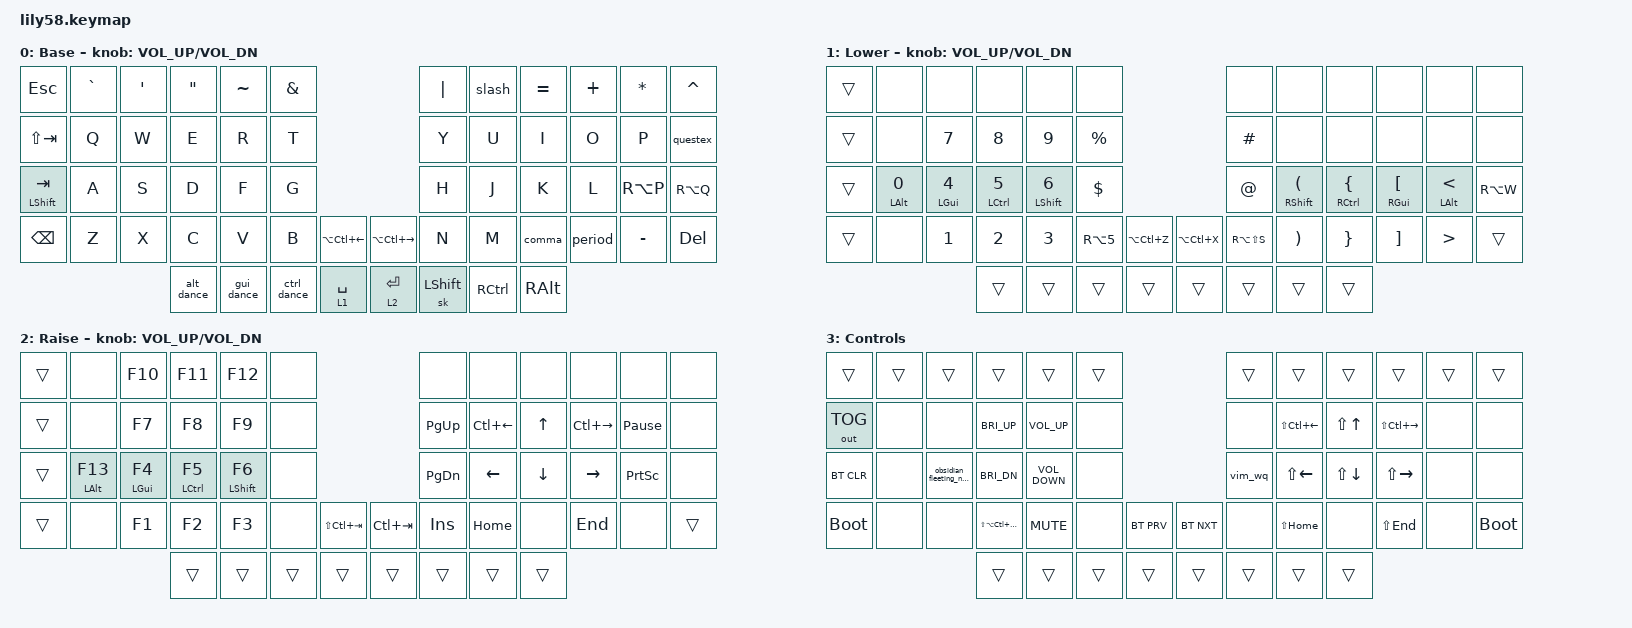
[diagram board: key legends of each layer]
/*
 * Copyright (c) 2020 The ZMK Contributors
 *
 * SPDX-License-Identifier: MIT
 */

#include <behaviors.dtsi>
#include <dt-bindings/zmk/bt.h>
#include <dt-bindings/zmk/keys.h>
#include <dt-bindings/zmk/outputs.h>

&mt {
    flavor = "balanced";
    require-prior-idle-ms = <150>;
    quick-tap-ms = <175>;
};

/ {
    behaviors {
        questex: questex {
            compatible = "zmk,behavior-mod-morph";
            label = "QUESTEX";
            bindings = <&kp QUESTION>, <&kp EXCLAMATION>;

            #binding-cells = <0>;
            mods = <(MOD_LSFT)>;
        };

        comma: comma {
            compatible = "zmk,behavior-mod-morph";
            label = "COMMA";
            bindings = <&kp COMMA>, <&kp SEMICOLON>;

            #binding-cells = <0>;
            mods = <(MOD_LSFT)>;
        };

        period: period {
            compatible = "zmk,behavior-mod-morph";
            label = "PERIOD";
            bindings = <&kp PERIOD>, <&kp COLON>;

            #binding-cells = <0>;
            mods = <(MOD_LSFT)>;
        };

        slash: slash {
            compatible = "zmk,behavior-mod-morph";
            label = "SLASH";
            bindings = <&kp SLASH>, <&kp BACKSLASH>;

            #binding-cells = <0>;
            mods = <(MOD_LSFT)>;
        };

        ctrl_dance: ctrl_dance {
            compatible = "zmk,behavior-tap-dance";
            label = "CTRL_DANCE";
            #binding-cells = <0>;
            bindings = <&kp LCTRL>, <&kp LS(LCTRL)>, <&kp LS(LA(LCTRL))>;

            tapping-term-ms = <300>;
        };

        gui_dance: gui_dance {
            compatible = "zmk,behavior-tap-dance";
            label = "GUI_DANCE";
            #binding-cells = <0>;
            bindings = <&kp LEFT_GUI>, <&kp LS(LEFT_GUI)>;

            tapping-term-ms = <300>;
        };

        alt_dance: alt_dance {
            compatible = "zmk,behavior-tap-dance";
            label = "ALT_DANCE";
            #binding-cells = <0>;
            bindings = <&kp LEFT_ALT>, <&kp LC(LEFT_ALT)>;

            tapping-term-ms = <300>;
        };

        mtl: mtl {
            compatible = "zmk,behavior-hold-tap";
            label = "MTL";
            bindings = <&kp>, <&kp>;

            #binding-cells = <2>;
            tapping-term-ms = <280>;
            flavor = "balanced";
            quick-tap-ms = <175>;
            require-prior-idle-ms = <150>;
            hold-trigger-on-release;
            hold-trigger-key-positions = <54 44 30 18 6 7 19 23 31 32 33 34 35 45 46 47 48 49 8 9 10 11 20 21 22 23 55 56 57>;
        };

        mtr: mtr {
            compatible = "zmk,behavior-hold-tap";
            label = "MTR";
            bindings = <&kp>, <&kp>;

            #binding-cells = <2>;
            tapping-term-ms = <280>;
            flavor = "balanced";
            quick-tap-ms = <175>;
            require-prior-idle-ms = <150>;
            hold-trigger-on-release;
            hold-trigger-key-positions = <0 1 2 4 5 12 13 14 15 16 17 24 25 26 27 28 29 36 37 38 39 40 41 50 51 52 53 3>;
        };
    };

    macros {
        vim_wq: vim_wq {
            compatible = "zmk,behavior-macro";
            #binding-cells = <0>;
            bindings = <&kp ESCAPE &kp COLON &kp W &kp Q &kp ENTER>;
            label = "VIM_WQ";
        };

        obsidian_fleeting_note: obsidian_fleeting_note {
            compatible = "zmk,behavior-macro";
            #binding-cells = <0>;
            bindings =
                <&kp LG(S)>,
                <&macro_wait_time 100>,
                <&kp LC(N)>,
                <&macro_wait_time 100>,
                <&kp ENTER>;

            label = "OBSIDIAN_FLEETING_NOTE";
        };
    };

    keymap {
        compatible = "zmk,keymap";

        default_layer {
            label = "Base";
            bindings = <
&kp ESCAPE          &kp GRAVE  &kp SQT  &kp DOUBLE_QUOTES  &kp TILDE   &kp AMPERSAND                                         &kp PIPE        &slash             &kp EQUAL      &kp PLUS  &kp STAR   &kp CARET
&kp LS(TAB)         &kp Q      &kp W    &kp E              &kp R       &kp T                                                 &kp Y           &kp U              &kp I          &kp O     &kp P      &questex
&mt LEFT_SHIFT TAB  &kp A      &kp S    &kp D              &kp F       &kp G                                                 &kp H           &kp J              &kp K          &kp L     &kp RA(P)  &kp RA(Q)
&kp BACKSPACE       &kp Z      &kp X    &kp C              &kp V       &kp B          &kp LA(LC(LEFT))    &kp LA(LC(RIGHT))  &kp N           &kp M              &comma         &period   &kp MINUS  &kp DELETE
                                        &alt_dance         &gui_dance  &ctrl_dance    &lt 1 SPACE         &lt 2 ENTER        &sk LEFT_SHIFT  &kp RIGHT_CONTROL  &kp RIGHT_ALT
            >;

            sensor-bindings = <&inc_dec_kp C_VOL_UP C_VOL_DN>;
        };

        lower_layer {
            label = "Lower";
            bindings = <
&trans  &none             &none                   &none                 &none               &none                                             &none          &none                              &none                          &none                        &none                    &none
&trans  &none             &kp N7                  &kp N8                &kp N9              &kp PERCENT                                       &kp POUND      &none                              &none                          &none                        &none                    &none
&trans  &mtl LEFT_ALT N0  &mtl LEFT_GUI NUMBER_4  &mtl LEFT_CONTROL N5  &mtl LEFT_SHIFT N6  &kp DOLLAR                                        &kp AT         &mtr RIGHT_SHIFT LEFT_PARENTHESIS  &mtr RIGHT_CONTROL LEFT_BRACE  &mtr RIGHT_GUI LEFT_BRACKET  &mtr LEFT_ALT LESS_THAN  &kp RA(W)
&trans  &none             &kp N1                  &kp N2                &kp N3              &kp RA(NUMBER_5)  &kp LA(LC(Z))    &kp LA(LC(X))  &kp RA(LS(S))  &kp RIGHT_PARENTHESIS              &kp RIGHT_BRACE                &kp RIGHT_BRACKET            &kp GREATER_THAN         &trans
                                                  &trans                &trans              &trans            &trans           &trans         &trans         &trans                             &trans
            >;

            sensor-bindings = <&inc_dec_kp C_VOL_UP C_VOL_DN>;
        };

        raise_layer {
            label = "Raise";
            bindings = <
&trans  &none              &kp F10           &kp F11               &kp F12             &none                                   &none          &none               &none     &none                &none            &none
&trans  &none              &kp F7            &kp F8                &kp F9              &none                                   &kp PAGE_UP    &kp LC(LEFT_ARROW)  &kp UP    &kp LC(RIGHT_ARROW)  &kp PAUSE_BREAK  &none
&trans  &mtl LEFT_ALT F13  &mtl LEFT_GUI F4  &mtl LEFT_CONTROL F5  &mtl LEFT_SHIFT F6  &none                                   &kp PAGE_DOWN  &kp LEFT            &kp DOWN  &kp RIGHT            &kp PRINTSCREEN  &none
&trans  &none              &kp F1            &kp F2                &kp F3              &none   &kp LS(LC(TAB))    &kp LC(TAB)  &kp INSERT     &kp HOME            &none     &kp END              &none            &trans
                                             &trans                &trans              &trans  &trans             &trans       &trans         &trans              &trans
            >;

            sensor-bindings = <&inc_dec_kp C_VOL_UP C_VOL_DN>;
        };

        control_layer {
            bindings = <
&trans        &trans  &trans                   &trans                 &trans             &trans                            &trans   &trans            &trans        &trans             &trans  &trans
&out OUT_TOG  &none   &none                    &kp C_BRI_UP           &kp C_VOLUME_UP    &none                             &none    &kp LS(LC(LEFT))  &kp LS(UP)    &kp LS(LC(RIGHT))  &none   &none
&bt BT_CLR    &none   &obsidian_fleeting_note  &kp C_BRI_DN           &kp C_VOLUME_DOWN  &none                             &vim_wq  &kp LS(LEFT)      &kp LS(DOWN)  &kp LS(RIGHT)      &none   &none
&bootloader   &none   &none                    &kp LS(LA(LC(LG(M))))  &kp K_MUTE         &none   &bt BT_PRV    &bt BT_NXT  &none    &kp LS(HOME)      &none         &kp LS(END)        &none   &bootloader
                                               &trans                 &trans             &trans  &trans        &trans      &trans   &trans            &trans
            >;

            label = "Controls";
        };
    };

    conditional_layers {
        compatible = "zmk,conditional-layers";

        conditional_control_layer {
            if-layers = <1 2>;
            then-layer = <3>;
        };
    };
};
